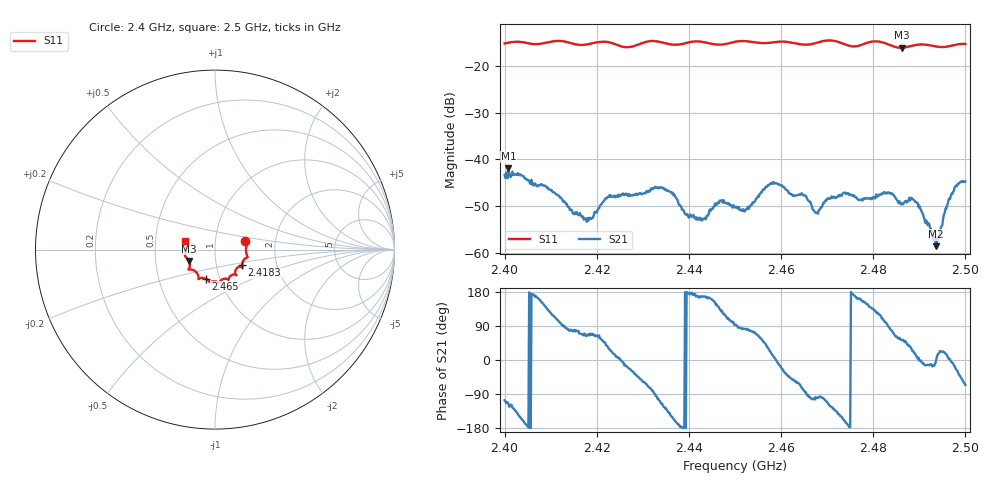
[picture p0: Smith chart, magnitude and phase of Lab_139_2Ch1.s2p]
# Hz S RI R 50
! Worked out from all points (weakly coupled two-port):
!   601 points, 2.4 GHz to 2.5 GHz, reference 50 ohm
!   highest |S21| = -41.96 dB at 2.4008 GHz (marker M1); lowest = -58.6 dB at 2.4937 GHz (marker M2)
!   lowest |S11| = -16.0 dB at 2.4862 GHz (marker M3), VSWR 1.37, Z = 37.1 - j4.84 ohm
!   |S11| at or under -10 dB: start of sweep to end of sweep
!   S12 and S22 are empty: the file has one direction only
!   S11 on the Smith chart (normalised r, x): 2.4 GHz: 1.40, +0.13; 2.4183 GHz: 1.33, -0.24; 2.465 GHz: 0.86, -0.29; 2.5 GHz: 0.71, +0.07
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2.4e9  0.1693 0.0458  -0.0019 -0.00653  0 0  0 0
2.400833e9  0.1742 0.04  -0.00351 -0.00717  0 0  0 0
2.408833e9  0.1762 -0.0257  -0.00407 0.00327  0 0  0 0
2.416667e9  0.1547 -0.0679  0.000888 0.00227  0 0  0 0
2.418333e9  0.15 -0.0868  0.001 0.00214  0 0  0 0
2.4225e9  0.1519 -0.0988  0.00338 0.0021  0 0  0 0
2.433333e9  0.1176 -0.141  -0.00102 -0.00479  0 0  0 0
2.441667e9  0.0747 -0.1688  -0.00233 0.000491  0 0  0 0
2.447e9  0.0436 -0.1647  -0.00222 0.0028  0 0  0 0
2.45e9  0.0254 -0.1809  -0.000167 0.00309  0 0  0 0
2.4525e9  0.0204 -0.1844  0.000385 0.00292  0 0  0 0
2.458167e9  -0.0191 -0.1789  0.00554 0.00122  0 0  0 0
2.465e9  -0.0524 -0.162  0.000642 -0.00404  0 0  0 0
2.466667e9  -0.0715 -0.1574  -0.000719 -0.00308  0 0  0 0
2.467833e9  -0.0827 -0.1588  -0.000489 -0.00264  0 0  0 0
2.473833e9  -0.0939 -0.144  -0.00415 -0.00147  0 0  0 0
2.483333e9  -0.1413 -0.0964  0.000187 0.00442  0 0  0 0
2.486167e9  -0.1442 -0.0635  0.00206 0.00268  0 0  0 0
2.489167e9  -0.1637 -0.0401  0.00337 0.000873  0 0  0 0
2.493667e9  -0.1621 -0.0127  0.00117 8.11e-06  0 0  0 0
2.497333e9  -0.1649 0.0308  0.00443 -0.000648  0 0  0 0
2.5e9  -0.1669 0.0468  0.00237 -0.00528  0 0  0 0
